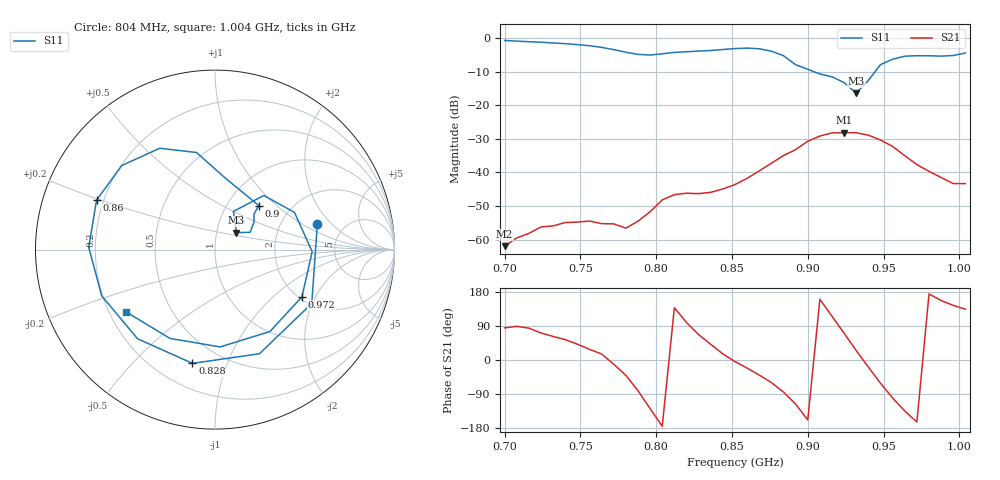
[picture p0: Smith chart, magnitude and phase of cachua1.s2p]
# Hz S RI R 50
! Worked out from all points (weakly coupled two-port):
!   39 points, 700 MHz to 1.004 GHz, reference 50 ohm
!   highest |S21| = -28.11 dB at 924 MHz (marker M1); lowest = -62.0 dB at 700 MHz (marker M2)
!   lowest |S11| = -16.3 dB at 932 MHz (marker M3), VSWR 1.36, Z = 62.3 + j12.1 ohm
!   |S11| at or under -10 dB: 904.5 MHz to 944.3 MHz (39.86 MHz wide, 4.31 % of centre)
!   S12 and S22 are empty: the file has one direction only
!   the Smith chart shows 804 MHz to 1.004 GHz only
!   S11 on the Smith chart (normalised r, x): 804 MHz: 3.18, +1.40; 828 MHz: 0.35, -0.76; 860 MHz: 0.17, +0.19; 900 MHz: 1.39, +0.78; 972 MHz: 2.08, -1.57; 1.004 GHz: 0.27, -0.29
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7e8  0.7641 0.53  7.3e-05 0.000794  0 0  0 0
7.24e8  0.8355 -0.2618  0.000493 0.00146  0 0  0 0
7.4e8  0.4457 -0.7044  0.00106 0.00145  0 0  0 0
7.56e8  -0.1983 -0.751  0.00166 0.000891  0 0  0 0
7.72e8  -0.6532 -0.1861  0.00168 -0.000331  0 0  0 0
7.8e8  -0.5771 0.2302  0.00113 -0.000961  0 0  0 0
7.88e8  -0.2224 0.5316  0.000293 -0.00185  0 0  0 0
7.96e8  0.2567 0.5025  -0.00161 -0.00204  0 0  0 0
8.04e8  0.5703 0.1442  -0.00389 -0.000337  0 0  0 0
8.2e8  0.2479 -0.5801  -0.000764 0.00484  0 0  0 0
8.28e8  -0.1254 -0.6339  0.00189 0.00445  0 0  0 0
8.52e8  -0.7036 0.0134  0.0066 -0.000482  0 0  0 0
8.6e8  -0.6598 0.2757  0.00761 -0.00298  0 0  0 0
8.76e8  -0.308 0.5646  0.00698 -0.0118  0 0  0 0
9e8  0.2439 0.2454  -0.0271 -0.0109  0 0  0 0
9.08e8  0.2175 0.1983  -0.0329 0.0118  0 0  0 0
9.24e8  0.196 0.0965  0.0131 0.037  0 0  0 0
9.32e8  0.1196 0.0947  0.0355 0.0164  0 0  0 0
9.56e8  0.4427 0.2075  -0.00433 -0.0241  0 0  0 0
9.72e8  0.4844 -0.2631  -0.0126 -0.0037  0 0  0 0
9.88e8  0.0284 -0.5423  -0.00774 0.00329  0 0  0 0
1.004e9  -0.4953 -0.3472  -0.00474 0.0049  0 0  0 0
